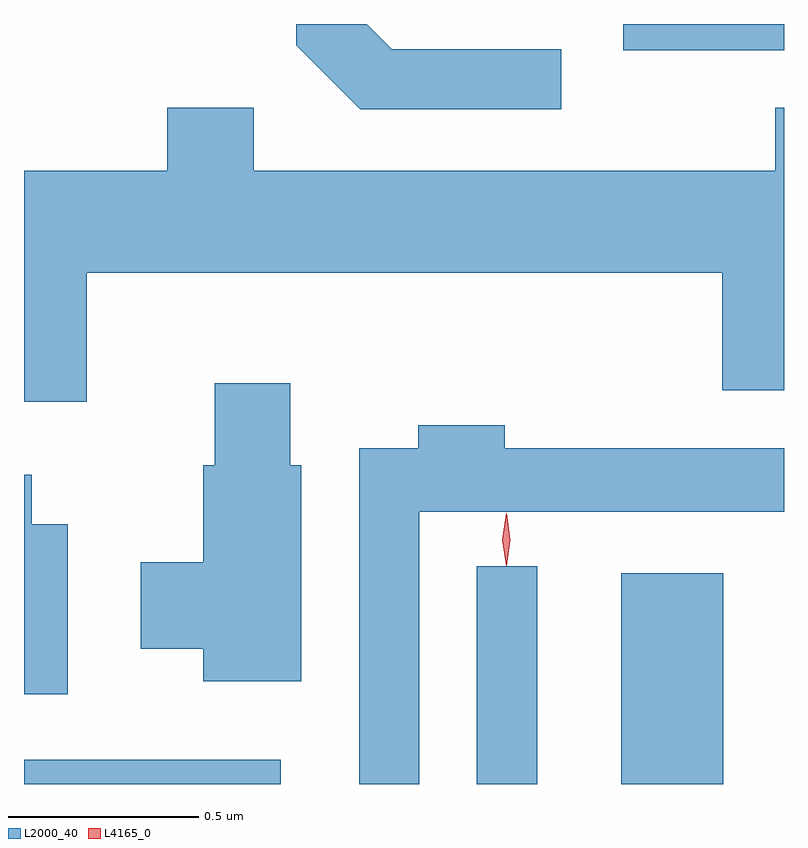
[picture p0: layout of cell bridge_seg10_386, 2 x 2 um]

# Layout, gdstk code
import gdstk
lib = gdstk.Library(unit=1e-6, precision=1e-09)
def R(c, l, rs):  # rectangles x0, y0, x1, y1
    for r in rs: c.add(gdstk.rectangle(r[:2], r[2:], *l))
def P(c, l, *ps):  # polygons
    for p in ps: c.add(gdstk.Polygon(p, *l))
L2000_40 = (2000, 40)
L4165_0 = (4165, 0)

bridge_seg10_386 = lib.new_cell('bridge_seg10_386')
R(bridge_seg10_386, L2000_40, [(1064.314,2132.55,1064.989,2132.614), (1065.506,2132.55,1065.664,2133.123), (1065.886,2132.55,1066.154,2133.104), (1065.891,2134.481,1066.314,2134.55)])
P(bridge_seg10_386, L2000_40, [(1065.728,2134.484),(1065.282,2134.484),(1065.216,2134.55),(1065.031,2134.55),(1065.031,2134.494),(1065.199,2134.326),(1065.728,2134.326)],
  [(1064.479,2133.896),(1066.151,2133.896),(1066.151,2133.586),(1066.314,2133.586),(1066.314,2134.329),(1066.291,2134.329),(1066.291,2134.164),(1064.919,2134.164),(1064.919,2134.329),(1064.691,2134.329),(1064.691,2134.164),(1064.314,2134.164),(1064.314,2133.556),(1064.479,2133.556)],
  [(1065.044,2133.389),(1065.014,2133.389),(1065.014,2133.604),(1064.816,2133.604),(1064.816,2133.389),(1064.786,2133.389),(1064.786,2133.134),(1064.621,2133.134),(1064.621,2132.906),(1064.786,2132.906),(1064.786,2132.821),(1065.044,2132.821)],
  [(1065.354,2133.266),(1066.314,2133.266),(1066.314,2133.434),(1065.579,2133.434),(1065.579,2133.494),(1065.351,2133.494),(1065.351,2133.434),(1065.196,2133.434),(1065.196,2132.55),(1065.354,2132.55)],
  [(1064.429,2133.234),(1064.334,2133.234),(1064.334,2133.364),(1064.314,2133.364),(1064.314,2132.786),(1064.429,2132.786)])
P(bridge_seg10_386, L4165_0, [(1065.583,2133.124),(1065.583,2133.124),(1065.573,2133.193),(1065.583,2133.262),(1065.583,2133.263),(1065.584,2133.262),(1065.593,2133.193),(1065.584,2133.124)])

lib.write_gds('bridge_seg10_386.gds')
